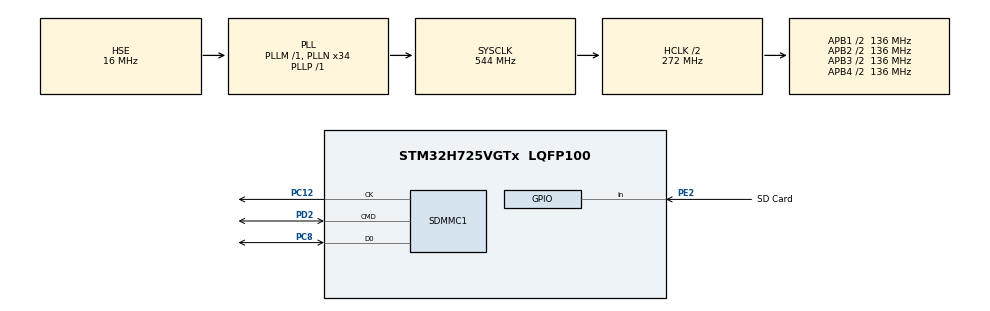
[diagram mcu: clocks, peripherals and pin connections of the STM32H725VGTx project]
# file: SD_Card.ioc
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FATFS.BSP.number=1
FATFS.USE_DMA_CODE_SD=1
FATFS0.BSP.STBoard=false
FATFS0.BSP.api=Unknown
FATFS0.BSP.instance=PE2
FATFS0.BSP.ip=GPIO
FATFS0.BSP.mode=Input
FATFS0.BSP.name=Detect_SDIO
FATFS0.BSP.solution=PE2
Mcu.Family=STM32H7
Mcu.Name=STM32H725VGTx
Mcu.Package=LQFP100
NVIC.PriorityGroup=NVIC_PRIORITYGROUP_4
NVIC.RCC_IRQn=true\:0\:0\:false\:false\:true\:true\:false\:true
NVIC.SDMMC1_IRQn=true\:0\:0\:false\:false\:true\:true\:true\:true
PC12.Mode=SD_1_bit
PC12.Signal=SDMMC1_CK
PC8.Mode=SD_1_bit
PC8.Signal=SDMMC1_D0
PD2.Mode=SD_1_bit
PD2.Signal=SDMMC1_CMD
PE2.GPIO_Label=SD Card
PE2.GPIO_PuPd=GPIO_PULLDOWN
PE2.Signal=GPIO_Input
PH0-OSC_IN.Mode=HSE-External-Oscillator
PH0-OSC_IN.Signal=RCC_OSC_IN
PH1-OSC_OUT.Mode=HSE-External-Oscillator
PH1-OSC_OUT.Signal=RCC_OSC_OUT
ProjectManager.HeapSize=0x400
ProjectManager.StackSize=0x800
ProjectManager.TargetToolchain=STM32CubeIDE
RCC.ADCFreq_Value=96000000
RCC.APB1Freq_Value=136000000
RCC.APB2Freq_Value=136000000
RCC.APB3Freq_Value=136000000
RCC.APB4Freq_Value=136000000
RCC.CortexFreq_Value=544000000
RCC.D1PPRE=RCC_APB3_DIV2
RCC.D2PPRE1=RCC_APB1_DIV2
RCC.D2PPRE2=RCC_APB2_DIV2
RCC.D3PPRE=RCC_APB4_DIV2
RCC.DIVM1=1
RCC.DIVM2=1
RCC.DIVN1=34
RCC.DIVN2=12
RCC.DIVP1=1
RCC.DIVQ1=3
RCC.HCLKFreq_Value=272000000
RCC.HPRE=RCC_HCLK_DIV2
RCC.HSE_VALUE=16000000
RCC.PLLFRACN=0
RCC.PLLSourceVirtual=RCC_PLLSOURCE_HSE
RCC.SYSCLKFreq_VALUE=544000000
RCC.SYSCLKSource=RCC_SYSCLKSOURCE_PLLCLK
RCC.SupplySource=PWR_LDO_SUPPLY
RCC.USBFreq_Value=181333333.33333334
SDMMC1.ClockDiv=1023
VP_FATFS_VS_SDIO.Mode=SDIO
board=custom

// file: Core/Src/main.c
/* USER CODE BEGIN Header */
/**
  ******************************************************************************
  * @file           : main.c
  * @brief          : Main program body
  ******************************************************************************
  * @attention
  *
  * Copyright (c) 2024 STMicroelectronics.
  * All rights reserved.
  *
  * This software is licensed under terms that can be found in the LICENSE file
  * in the root directory of this software component.
  * If no LICENSE file comes with this software, it is provided AS-IS.
  *
  ******************************************************************************
  */
/* USER CODE END Header */
#include "main.h"
#include "fatfs.h"

/* USER CODE BEGIN Includes */
#include <stdio.h>

/* USER CODE END Includes */

/* USER CODE BEGIN PD */
//#define FS_FAT32	3
SD_HandleTypeDef hsd1;
//FATFS fs;
//FIL fil;

/* USER CODE END PD */

SD_HandleTypeDef hsd1;

void SystemClock_Config(void);
static void MX_GPIO_Init(void);
static void MX_SDMMC1_SD_Init(void);

/* USER CODE BEGIN 0 */
/* Buffer for data to be written */
uint8_t dataBuffer[] = "Let's Gooooo\0";

/* USER CODE END 0 */

int main(void)
{
  /* USER CODE BEGIN 1 */
	//FRESULT res; /* FatFs function common result code */
	//uint32_t byteswritten, bytesread; /* File write/read counts */
	//uint8_t wtext[] = "STM32 FATFS works great!"; /* File write buffer */
	//uint8_t rtext[_MAX_SS];/* File read buffer */

  /* USER CODE END 1 */

  /* MCU Configuration--------------------------------------------------------*/

  /* Reset of all peripherals, Initializes the Flash interface and the Systick. */
  HAL_Init();

  /* Configure the system clock */
  SystemClock_Config();

  /* Initialize all configured peripherals */
  MX_GPIO_Init();
  MX_SDMMC1_SD_Init();
  MX_FATFS_Init();
  /* USER CODE BEGIN 2 */

  /* STM32CubeIDE initialization code */
  FRESULT sd_status;
  sd_status = f_mount(&SDFatFS, "", 1);

   /* Initialize the file system */
   if (sd_status != FR_OK)
   {
     /* Error handling */
     Error_Handler();
   }

   /* Open or create a file for writing */

   //HAL_StatusTypeDef status;
   //status = HAL_SD_Init(&hsd1);

	   sd_status = f_open(&SDFile, "testing.txt", FA_CREATE_ALWAYS | FA_WRITE);
	   if (sd_status == FR_OK)
	   {
	     /* Write data to the file */
		 //for (int i = 0; i < 10; i++){
			 UINT bytesWritten;
			 f_write(&SDFile, dataBuffer, sizeof(dataBuffer), &bytesWritten);
			 //printf("%s\r\n", dataBuffer);

			 if (bytesWritten == sizeof(dataBuffer))
			 {
			   /* Write successful */
			 }
			 else
			 {
			   /* Write failed */
			 }

	     /* Close the file */
	     f_close(&SDFile);
	   }
	   else
	   {
	     /* Error handling */
	     Error_Handler();
	   }

  /*if (FATFS_LinkDriver(&SD_Driver, "0") != 0)
    {
      Error_Handler();
    }

    if (f_mount(&fs, "0:", 0) != FR_OK)
    {
      Error_Handler();
    }

    FIL file;
    if (f_open(&file, "0:/example.txt", FA_CREATE_ALWAYS | FA_WRITE) != FR_OK)
    {
      Error_Handler();
    }

    char text[] = "Hello, SD Card!";
    UINT bytesWritten;
    if (f_write(&file, text, sizeof(text), &bytesWritten) != FR_OK)
    {
      Error_Handler();
    }

    f_close(&file);*/

 /* if(f_mount(&SDFatFS, (TCHAR const*)SDPath, 0) != FR_OK)
  	{
  		Error_Handler();
  	}
  	else
  	{
  		if(f_mkfs((TCHAR const*)SDPath, FM_ANY, 0, rtext, sizeof(rtext)) != FR_OK)
  	    {
  			Error_Handler();
  	    }
  		else
  		{
  			//Open file for writing (Create)
  			if(f_open(&SDFile, "STM32.TXT", FA_CREATE_ALWAYS | FA_WRITE) != FR_OK)
  			{
  				Error_Handler();
  			}
  			else
  			{

  				//Write to the text file
  				res = f_write(&SDFile, wtext, strlen((char *)wtext), (void *)&byteswritten);
  				if((byteswritten == 0) || (res != FR_OK))
  				{
  					Error_Handler();
  				}
  				else
  				{

  					f_close(&SDFile);
  				}
  			}
  		}
  	}
  	f_mount(&SDFatFS, (TCHAR const*)NULL, 0);*/

  /* USER CODE END 2 */

  /* Infinite loop */
  /* USER CODE BEGIN WHILE */
  while (1)
  {
	  //printf("%s\r\n", dataBuffer);
    /* USER CODE END WHILE */

  }
}

void SystemClock_Config(void)
{
  RCC_OscInitTypeDef RCC_OscInitStruct = {0};
  RCC_ClkInitTypeDef RCC_ClkInitStruct = {0};

  /** Supply configuration update enable
  */
  HAL_PWREx_ConfigSupply(PWR_LDO_SUPPLY);

  /** Configure the main internal regulator output voltage
  */
  __HAL_PWR_VOLTAGESCALING_CONFIG(PWR_REGULATOR_VOLTAGE_SCALE0);

  while(!__HAL_PWR_GET_FLAG(PWR_FLAG_VOSRDY)) {}

  /** Initializes the RCC Oscillators according to the specified parameters
  * in the RCC_OscInitTypeDef structure.
  */
  RCC_OscInitStruct.OscillatorType = RCC_OSCILLATORTYPE_HSE;
  RCC_OscInitStruct.HSEState = RCC_HSE_ON;
  RCC_OscInitStruct.PLL.PLLState = RCC_PLL_ON;
  RCC_OscInitStruct.PLL.PLLSource = RCC_PLLSOURCE_HSE;
  RCC_OscInitStruct.PLL.PLLM = 1;
  RCC_OscInitStruct.PLL.PLLN = 34;
  RCC_OscInitStruct.PLL.PLLP = 1;
  RCC_OscInitStruct.PLL.PLLQ = 3;
  RCC_OscInitStruct.PLL.PLLR = 2;
  RCC_OscInitStruct.PLL.PLLRGE = RCC_PLL1VCIRANGE_3;
  RCC_OscInitStruct.PLL.PLLVCOSEL = RCC_PLL1VCOWIDE;
  RCC_OscInitStruct.PLL.PLLFRACN = 0;
  if (HAL_RCC_OscConfig(&RCC_OscInitStruct) != HAL_OK)
  {
    Error_Handler();
  }

  /** Initializes the CPU, AHB and APB buses clocks
  */
  RCC_ClkInitStruct.ClockType = RCC_CLOCKTYPE_HCLK|RCC_CLOCKTYPE_SYSCLK
                              |RCC_CLOCKTYPE_PCLK1|RCC_CLOCKTYPE_PCLK2
                              |RCC_CLOCKTYPE_D3PCLK1|RCC_CLOCKTYPE_D1PCLK1;
  RCC_ClkInitStruct.SYSCLKSource = RCC_SYSCLKSOURCE_PLLCLK;
  RCC_ClkInitStruct.SYSCLKDivider = RCC_SYSCLK_DIV1;
  RCC_ClkInitStruct.AHBCLKDivider = RCC_HCLK_DIV2;
  RCC_ClkInitStruct.APB3CLKDivider = RCC_APB3_DIV2;
  RCC_ClkInitStruct.APB1CLKDivider = RCC_APB1_DIV2;
  RCC_ClkInitStruct.APB2CLKDivider = RCC_APB2_DIV2;
  RCC_ClkInitStruct.APB4CLKDivider = RCC_APB4_DIV2;

  if (HAL_RCC_ClockConfig(&RCC_ClkInitStruct, FLASH_LATENCY_3) != HAL_OK)
  {
    Error_Handler();
  }
}

static void MX_SDMMC1_SD_Init(void)
{

  hsd1.Instance = SDMMC1;
  hsd1.Init.ClockEdge = SDMMC_CLOCK_EDGE_RISING;
  hsd1.Init.ClockPowerSave = SDMMC_CLOCK_POWER_SAVE_DISABLE;
  hsd1.Init.BusWide = SDMMC_BUS_WIDE_1B;
  hsd1.Init.HardwareFlowControl = SDMMC_HARDWARE_FLOW_CONTROL_DISABLE;
  hsd1.Init.ClockDiv = 1023;

}

static void MX_GPIO_Init(void)
{
  GPIO_InitTypeDef GPIO_InitStruct = {0};

  /* GPIO Ports Clock Enable */
  __HAL_RCC_GPIOE_CLK_ENABLE();
  __HAL_RCC_GPIOH_CLK_ENABLE();
  __HAL_RCC_GPIOC_CLK_ENABLE();
  __HAL_RCC_GPIOD_CLK_ENABLE();

  /*Configure GPIO pin : SD_Card_Pin */
  GPIO_InitStruct.Pin = SD_Card_Pin;
  GPIO_InitStruct.Mode = GPIO_MODE_INPUT;
  GPIO_InitStruct.Pull = GPIO_PULLDOWN;
  HAL_GPIO_Init(SD_Card_GPIO_Port, &GPIO_InitStruct);

}

void Error_Handler(void)
{
  __disable_irq();
  while (1)
  {
  }
}
